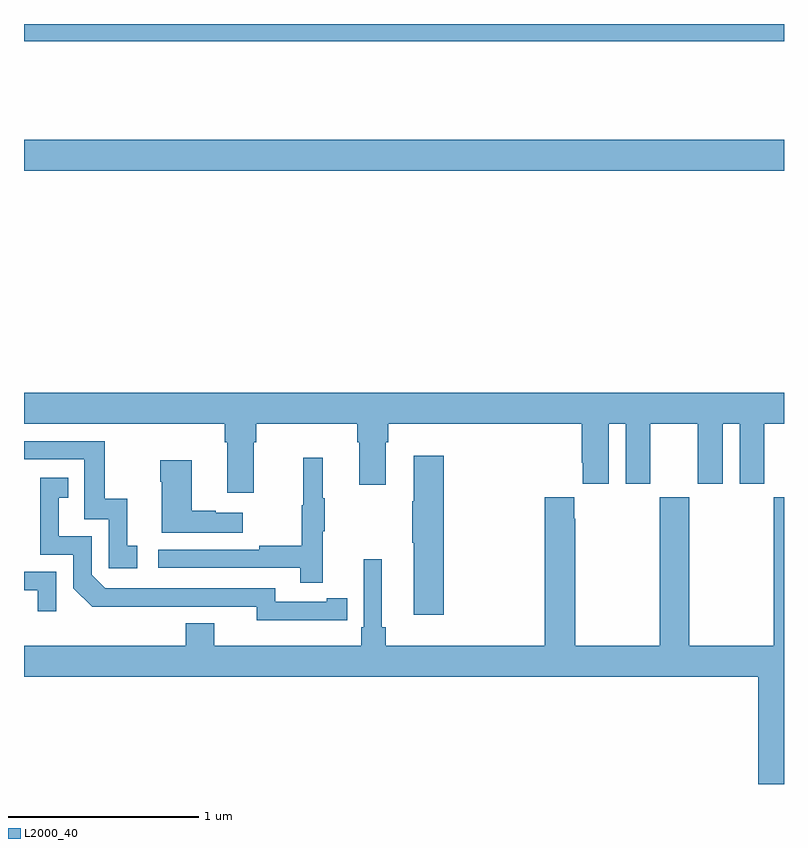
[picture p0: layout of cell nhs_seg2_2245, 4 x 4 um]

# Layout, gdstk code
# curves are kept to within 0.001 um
import gdstk
lib = gdstk.Library(unit=1e-6, precision=1e-09)
def R(c, l, rs):  # rectangles x0, y0, x1, y1
    for r in rs: c.add(gdstk.rectangle(r[:2], r[2:], *l))
def P(c, l, *ps):  # polygons
    for p in ps: c.add(gdstk.Polygon(p, *l))
L2000_40 = (2000, 40)

nhs_seg2_2245 = lib.new_cell('nhs_seg2_2245')
R(nhs_seg2_2245, L2000_40, [(229,589.028,233,589.192), (229,589.708,233,589.8)])
P(nhs_seg2_2245, L2000_40, [(230.209,587.6),(230.222,587.6),(230.222,587.696),(230.753,587.696),(230.753,587.6),(230.765,587.6),(230.765,587.376),(230.905,587.376),(230.905,587.6),(230.918,587.6),(230.918,587.696),(231.935,587.696),(231.935,587.491),(231.941,587.491),(231.941,587.379),(232.078,587.379),(232.078,587.696),(232.166,587.696),(232.166,587.379),(232.297,587.379),(232.297,587.696),(232.547,587.696),(232.547,587.379),(232.678,587.379),(232.678,587.696),(232.766,587.696),(232.766,587.379),(232.897,587.379),(232.897,587.696),(233,587.696),(233,587.86),(229,587.86),(229,587.696),(230.057,587.696),(230.057,587.6),(230.069,587.6),(230.069,587.334),(230.209,587.334)],
  [(229.597,587.055),(229.544,587.055),(229.544,587.302),(229.426,587.302),(229.426,587.604),(229,587.604),(229,587.508),(229.317,587.508),(229.317,587.193),(229.446,587.193),(229.446,586.935),(229.597,586.935)],
  [(231.209,587.527),(231.05,587.527),(231.05,587.288),(231.043,587.288),(231.043,587.071),(231.05,587.071),(231.05,586.692),(231.209,586.692)],
  [(230.573,587.131),(230.584,587.131),(230.584,587.305),(230.573,587.305),(230.573,587.518),(230.47,587.518),(230.47,587.268),(230.463,587.268),(230.463,587.054),(230.239,587.054),(230.239,587.034),(229.707,587.034),(229.707,586.938),(230.455,586.938),(230.455,586.86),(230.573,586.86)],
  [(230.152,587.227),(230.009,587.227),(230.009,587.237),(229.882,587.237),(229.882,587.503),(229.717,587.503),(229.717,587.39),(229.724,587.39),(229.724,587.123),(230.152,587.123)],
  [(230.594,586.662),(230.702,586.662),(230.702,586.778),(230.594,586.778),(230.594,586.758),(230.322,586.758),(230.322,586.83),(229.428,586.83),(229.356,586.902),(229.356,587.103),(229.183,587.103),(229.183,587.307),(229.232,587.307),(229.232,587.413),(229.086,587.413),(229.086,587.007),(229.26,587.007),(229.26,586.83),(229.358,586.733),(230.226,586.734),(230.226,586.661)],
  [(229.85,586.645),(229.85,586.528),(229,586.528),(229,586.364),(232.865,586.364),(232.865,585.8),(233,585.8),(233,587.308),(232.945,587.308),(232.945,586.528),(232.5,586.528),(232.5,587.308),(232.345,587.308),(232.345,586.528),(231.9,586.528),(231.9,587.195),(231.895,587.195),(231.895,587.308),(231.74,587.308),(231.74,586.528),(230.903,586.528),(230.903,586.624),(230.884,586.624),(230.884,586.984),(230.787,586.984),(230.787,586.624),(230.774,586.624),(230.774,586.528),(230.002,586.528),(230.002,586.645)],
  [(229.17,586.917),(229,586.917),(229,586.821),(229.073,586.821),(229.073,586.71),(229.17,586.71)])

lib.write_gds('nhs_seg2_2245.gds')
